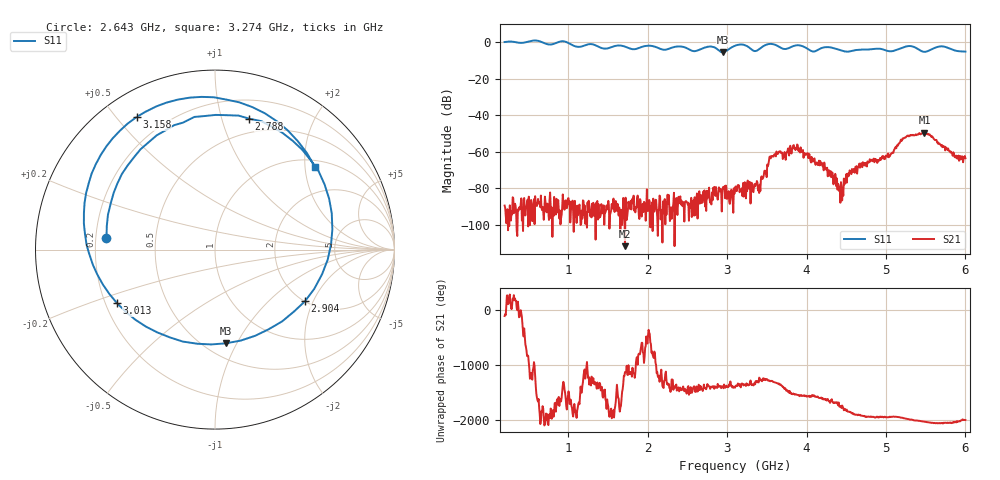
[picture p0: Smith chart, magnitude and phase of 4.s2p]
! NanoVNA-App
! Date: 2024-06-25 16:14:18
! Start: 200MHz Stop: 6GHz Points: 801
! S-Parameter data: F S11 S21 S12 S22
# Hz S RI R 50
!  Frequency  S11_Real  S11_Imag  S21_Real  S21_Imag  S12_Real  S12_Imag  S22_Real  S22_Imag
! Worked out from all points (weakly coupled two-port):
!   801 points, 200 MHz to 6 GHz, reference 50 ohm
!   highest |S21| = -49.63 dB at 5.485 GHz (marker M1); lowest = -111.8 dB at 1.715 GHz (marker M2)
!   lowest |S11| = -5.6 dB at 2.948 GHz (marker M3), VSWR 3.22, Z = 31.2 - j45.1 ohm
!   |S11| at or under -10 dB: nowhere
!   S12 and S22 are empty: the file has one direction only
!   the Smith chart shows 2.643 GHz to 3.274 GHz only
!   S11 on the Smith chart (normalised r, x): 2.643 GHz: 0.24, +0.05; 2.788 GHz: 0.36, +1.23; 2.904 GHz: 2.00, -1.74; 3.013 GHz: 0.25, -0.24; 3.158 GHz: 0.10, +0.57; 3.274 GHz: 1.18, +2.26
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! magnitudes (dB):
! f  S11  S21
! 200 MHz  0.0  -89.6
! 1.171 GHz  -2.4  -92.3
! 1.715 GHz  -2.4  -111.8
! 2.136 GHz  -3.2  -92.1
! 2.643 GHz  -4.3  -87.2
! 2.788 GHz  -2.5  -88.0
! 2.904 GHz  -4.8  -80.6
! 2.948 GHz  -5.6  -79.5
! 3.013 GHz  -4.1  -84.7
! 3.1 GHz  -2.0  -80.4
! 3.158 GHz  -1.3  -82.3
! 3.274 GHz  -2.8  -80.3
! 3.419 GHz  -3.3  -81.5
! 3.55 GHz  -0.9  -63.7
! 3.651 GHz  -2.5  -60.2
! 3.861 GHz  -1.8  -59.2
! 4.072 GHz  -5.1  -63.6
! 4.434 GHz  -4.5  -76.7
! 4.688 GHz  -4.1  -66.4
! 5.036 GHz  -5.0  -63.1
! 5.485 GHz  -5.3  -49.6
! 6 GHz  -5.2  -63.6
